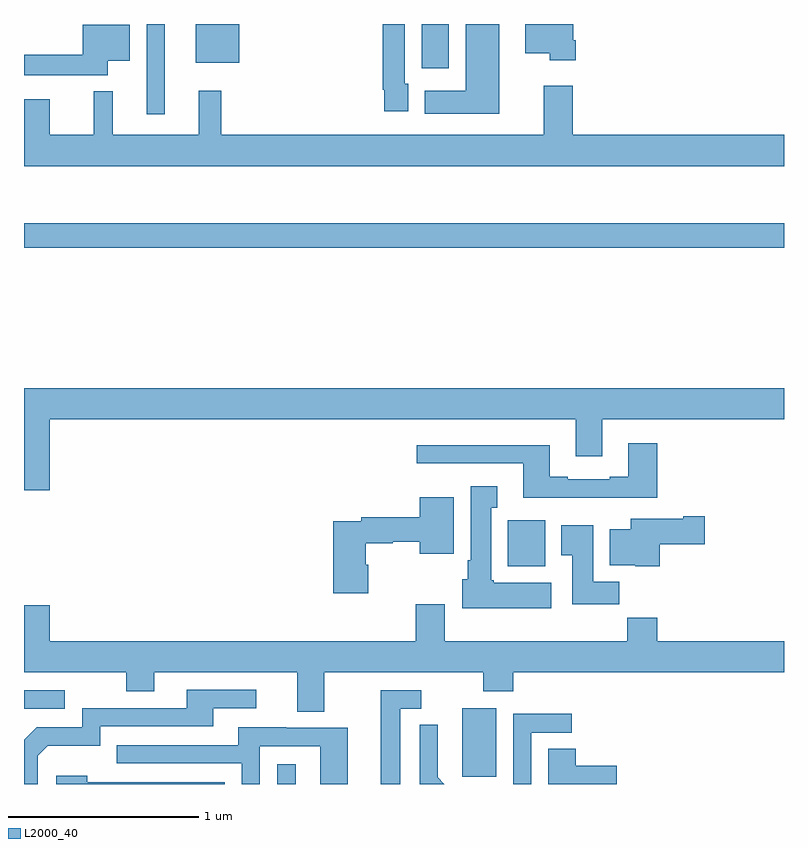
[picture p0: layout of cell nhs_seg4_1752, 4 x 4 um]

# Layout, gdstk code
import gdstk
lib = gdstk.Library(unit=1e-6, precision=1e-09)
def R(c, l, rs):  # rectangles x0, y0, x1, y1
    for r in rs: c.add(gdstk.rectangle(r[:2], r[2:], *l))
def P(c, l, *ps):  # polygons
    for p in ps: c.add(gdstk.Polygon(p, *l))
L2000_40 = (2000, 40)

nhs_seg4_1752 = lib.new_cell('nhs_seg4_1752')
R(nhs_seg4_1752, L2000_40, [(202.332,794.9,202.429,795.004), (203.306,794.937,203.485,795.298), (201,795.297,201.214,795.393), (203.546,796.046,203.743,796.288), (201,797.722,205,797.851), (201.645,798.426,201.742,798.9), (203.093,798.666,203.236,798.9), (201.905,798.695,202.132,798.9)])
P(nhs_seg4_1752, L2000_40, [(203.023,798.585),(203.004,798.585),(203.004,798.9),(202.888,798.9),(202.888,798.553),(202.896,798.553),(202.896,798.441),(203.023,798.441)],
  [(203.903,798.814),(203.89,798.814),(203.89,798.9),(203.639,798.9),(203.639,798.746),(203.768,798.746),(203.768,798.71),(203.903,798.71)],
  [(203.5,798.9),(203.324,798.9),(203.324,798.55),(203.108,798.55),(203.108,798.428),(203.5,798.428)],
  [(201.442,798.707),(201.556,798.707),(201.556,798.895),(201.308,798.895),(201.308,798.739),(201,798.739),(201,798.63),(201.442,798.63)],
  [(205,798.316),(203.888,798.316),(203.888,798.574),(203.735,798.574),(203.735,798.316),(202.037,798.316),(202.037,798.55),(201.92,798.55),(201.92,798.316),(201.467,798.316),(201.467,798.545),(201.368,798.545),(201.368,798.316),(201.136,798.316),(201.136,798.505),(201,798.505),(201,798.152),(205,798.152)],
  [(201.136,796.82),(203.903,796.82),(203.903,796.626),(204.043,796.626),(204.043,796.82),(205,796.82),(205,796.984),(201,796.984),(201,796.446),(201.136,796.446)],
  [(204.332,796.693),(204.179,796.693),(204.179,796.516),(204.083,796.516),(204.083,796.503),(203.863,796.503),(203.863,796.516),(203.767,796.516),(203.767,796.684),(203.067,796.684),(203.067,796.587),(203.627,796.587),(203.627,796.406),(204.332,796.406)],
  [(203.776,795.958),(203.472,795.958),(203.472,795.972),(203.458,795.972),(203.458,796.355),(203.491,796.355),(203.491,796.468),(203.351,796.468),(203.351,796.078),(203.336,796.078),(203.336,795.978),(203.306,795.978),(203.306,795.824),(203.776,795.824)],
  [(202.811,796.053),(202.798,796.053),(202.798,796.168),(202.941,796.168),(202.941,796.176),(203.084,796.176),(203.084,796.112),(203.263,796.112),(203.263,796.408),(203.084,796.408),(203.084,796.304),(202.774,796.304),(202.774,796.284),(202.628,796.284),(202.628,795.903),(202.811,795.903)],
  [(204.347,796.163),(204.583,796.163),(204.583,796.31),(204.47,796.31),(204.47,796.297),(204.194,796.297),(204.194,796.24),(204.083,796.24),(204.083,796.052),(204.216,796.052),(204.216,796.046),(204.347,796.046)],
  [(204.134,795.964),(203.995,795.964),(203.995,796.261),(203.828,796.261),(203.828,796.105),(203.885,796.105),(203.885,795.846),(204.134,795.846)],
  [(204.175,795.776),(204.175,795.652),(203.215,795.652),(203.215,795.847),(203.063,795.847),(203.063,795.652),(201.136,795.652),(201.136,795.841),(201,795.841),(201,795.488),(201.538,795.488),(201.538,795.389),(201.685,795.389),(201.685,795.488),(202.439,795.488),(202.439,795.28),(202.579,795.28),(202.579,795.488),(203.416,795.488),(203.416,795.389),(203.576,795.389),(203.576,795.488),(205,795.488),(205,795.652),(204.332,795.652),(204.332,795.776)],
  [(201.072,795.048),(201.125,795.101),(201.402,795.101),(201.402,795.204),(201.997,795.204),(201.997,795.3),(202.222,795.3),(202.222,795.396),(201.857,795.396),(201.857,795.3),(201.306,795.3),(201.306,795.198),(201.066,795.198),(201,795.132),(201,794.9),(201.072,794.9)],
  [(202.981,795.297),(203.092,795.297),(203.092,795.393),(202.877,795.393),(202.877,794.9),(202.981,794.9)],
  [(203.67,795.171),(203.884,795.171),(203.884,795.27),(203.574,795.27),(203.574,794.9),(203.67,794.9)],
  [(203.177,794.936),(203.177,795.058),(203.178,795.058),(203.178,795.212),(203.082,795.212),(203.082,794.9),(203.212,794.9)],
  [(202.242,795.099),(202.56,795.099),(202.56,794.9),(202.705,794.9),(202.705,795.195),(202.381,795.195),(202.381,795.199),(202.127,795.199),(202.127,795.105),(201.487,795.105),(201.487,795.009),(202.146,795.009),(202.146,794.9),(202.242,794.9)],
  [(204.121,794.996),(203.903,794.996),(203.903,795.086),(203.759,795.086),(203.759,794.9),(204.121,794.9)],
  [(202.056,794.91),(201.332,794.91),(201.332,794.944),(201.171,794.944),(201.171,794.9),(202.056,794.9)])

lib.write_gds('nhs_seg4_1752.gds')
